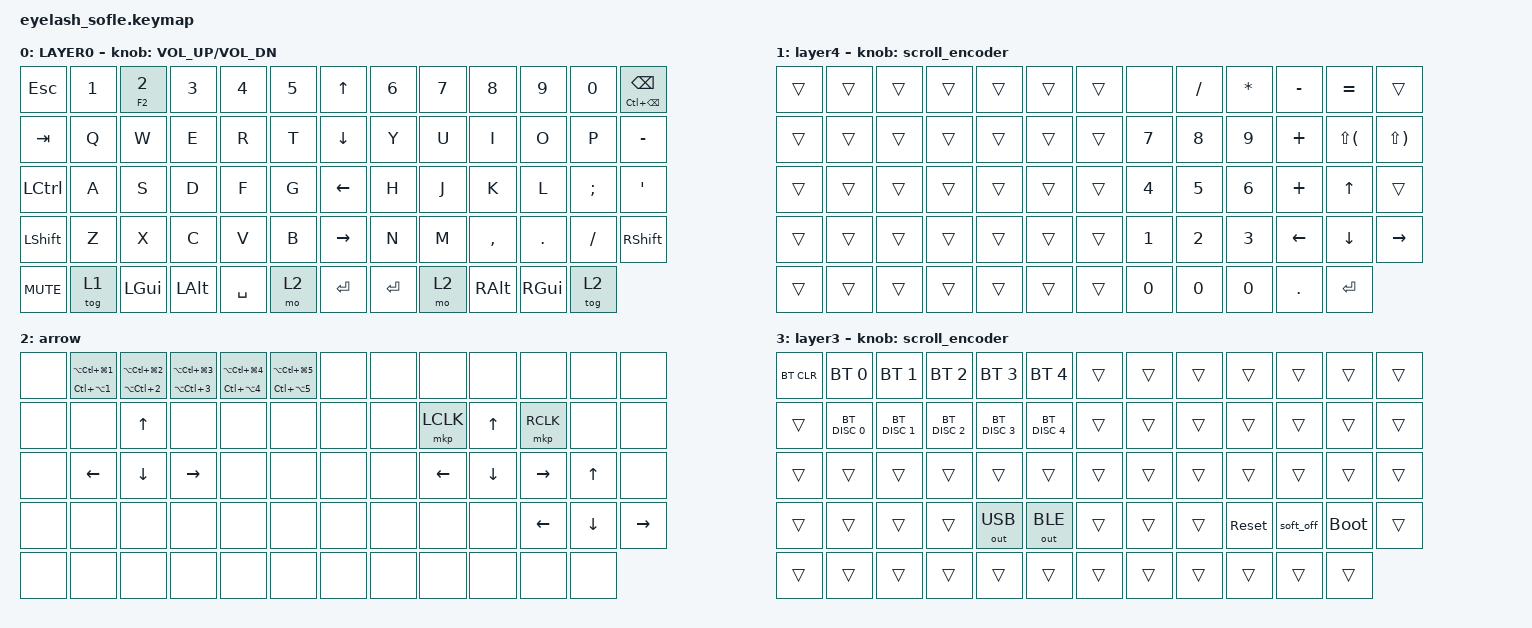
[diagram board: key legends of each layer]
#define ZMK_POINTING_DEFAULT_MOVE_VAL 1200  // 600
#define ZMK_POINTING_DEFAULT_SCRL_VAL 25   // 10

#include <input/processors.dtsi>
#include <zephyr/dt-bindings/input/input-event-codes.h>
#include <behaviors.dtsi>
#include <dt-bindings/zmk/bt.h>
#include <dt-bindings/zmk/keys.h>
#include <dt-bindings/zmk/outputs.h>
#include <dt-bindings/zmk/pointing.h>

&mmv_input_listener { input-processors = <&zip_xy_scaler 2 1>; };

&msc_input_listener { input-processors = <&zip_scroll_scaler 2 1>; };

&msc {
    acceleration-exponent = <1>;      // 0
    time-to-max-speed-ms = <100>;       // 300
    delay-ms = <0>;                   // 0
};

&mmv {
    time-to-max-speed-ms = <500>;
    acceleration-exponent = <1>;
    trigger-period-ms = <16>;
};

&soft_off { hold-time-ms = <2000>; };

/ {
    scroll_encoder: scroll_encoder {
        compatible = "zmk,behavior-sensor-rotate";
        #sensor-binding-cells = <0>;
        bindings = <&msc SCRL_DOWN>, <&msc SCRL_UP>;

        tap-ms = <100>;
    };

    TH_2: TH_2 {
        compatible = "zmk,behavior-hold-tap";
        label = "TH_2";
        bindings = <&kp>, <&kp>;

        #binding-cells = <2>;
        tapping-term-ms = <200>;
        quick-tap-ms = <0>;
        flavor = "tap-preferred";
        hold-trigger-key-positions = <1>;
    };

    behaviors {
    };

    combos {
        compatible = "zmk,combos";

        softoff {
            bindings = <&soft_off>;
            key-positions = <14 28 40>;
        };

        Delete {
            bindings = <&kp DEL>;
            key-positions = <24 25>;
        };

        equal_plus {
            bindings = <&kp EQUAL>;
            key-positions = <11 10>;
        };

        Backslash {
            bindings = <&kp BACKSLASH>;
            key-positions = <22 36>;
        };

        Left_bracklet {
            bindings = <&kp LEFT_BRACKET>;
            key-positions = <22 23>;
        };

        Right_bracklet {
            bindings = <&kp RIGHT_BRACKET>;
            key-positions = <24 23>;
        };

        Reset_layer {
            bindings = <&to 0>;
            key-positions = <57 59>;
        };

        Connect {
            bindings = <&sl 3>;
            key-positions = <0 5>;
        };

        snap_left {
            bindings = <&kp LG(LEFT)>;
            key-positions = <28 16>;
            require-prior-idle-ms = <100>;
            timeout-ms = <10>;
        };

        snap_right {
            bindings = <&kp LG(RIGHT)>;
            key-positions = <30 16>;
            require-prior-idle-ms = <100>;
            timeout-ms = <10>;
        };

        full_screen {
            bindings = <&kp LG(UP_ARROW)>;
            key-positions = <30 28 16>;
            require-prior-idle-ms = <100>;
            timeout-ms = <10>;
        };

        minimize {
            bindings = <&kp LG(DOWN)>;
            key-positions = <30 28 29>;
            require-prior-idle-ms = <100>;
            timeout-ms = <10>;
        };

        move_window_left {
            bindings = <&kp LS(LG(LEFT))>;
            key-positions = <29 28>;
            require-prior-idle-ms = <100>;
            timeout-ms = <10>;
        };

        move_window_right {
            bindings = <&kp LS(LG(RIGHT))>;
            key-positions = <29 30>;
            require-prior-idle-ms = <100>;
            timeout-ms = <10>;
        };
    };

    macros {
        SHIFT_MCLK: SHIFT_MCLK {
            compatible = "zmk,behavior-macro";
            #binding-cells = <0>;
            bindings =
                <&macro_press>,
                <&kp LEFT_SHIFT>,
                <&macro_press>,
                <&mkp MB3>,
                <&macro_pause_for_release>,
                <&macro_release>,
                <&kp LEFT_SHIFT &mkp MB3>;

            label = "SHIFT_MCLK";
        };
    };

    keymap {
        compatible = "zmk,keymap";

        layer0 {
            bindings = <
&kp ESC     &kp N1  &TH_2 F2 N2   &kp N3    &kp N4     &kp N5    &kp UP_ARROW     &kp N6   &kp N7  &kp N8     &kp N9    &kp N0    &TH_2 LC(BSPC) BACKSPACE
&kp TAB     &kp Q   &kp W         &kp E     &kp R      &kp T     &kp DOWN_ARROW   &kp Y    &kp U   &kp I      &kp O     &kp P     &kp MINUS
&kp LCTRL   &kp A   &kp S         &kp D     &kp F      &kp G     &kp LEFT_ARROW   &kp H    &kp J   &kp K      &kp L     &kp SEMI  &kp SQT
&kp LSHFT   &kp Z   &kp X         &kp C     &kp V      &kp B     &kp RIGHT_ARROW  &kp N    &kp M   &kp COMMA  &kp DOT   &kp FSLH  &kp RSHFT
&kp C_MUTE  &tog 1  &kp LEFT_GUI  &kp LALT  &kp SPACE  &mo 2     &kp ENTER        &kp RET  &mo 2   &kp RALT   &kp RGUI  &tog 2
            >;

            sensor-bindings = <&inc_dec_kp C_VOLUME_UP C_VOL_DN>;
            display-name = "LAYER0";
        };

        numpad {
            bindings = <
&trans  &trans  &trans  &trans  &trans  &trans    &trans  &none   &kp FSLH  &kp STAR  &kp MINUS  &kp EQUAL     &trans
&trans  &trans  &trans  &trans  &trans  &trans    &trans  &kp N7  &kp N8    &kp N9    &kp PLUS   &kp LS(LPAR)  &kp LS(RPAR)
&trans  &trans  &trans  &trans  &trans  &trans    &trans  &kp N4  &kp N5    &kp N6    &kp PLUS   &kp UP        &trans
&trans  &trans  &trans  &trans  &trans  &trans    &trans  &kp N1  &kp N2    &kp N3    &kp LEFT   &kp DOWN      &kp RIGHT
&trans  &trans  &trans  &trans  &trans  &trans    &trans  &kp N0  &kp N0    &kp N0    &kp DOT    &kp RET
            >;

            display-name = "layer4";
            sensor-bindings = <&scroll_encoder>;
        };

        arrow {
            bindings = <
&none  &TH_2 LC(LA(NUMBER_1)) LA(LC(LG(NUMBER_1)))  &TH_2 LA(LC(NUMBER_2)) LA(LC(LG(NUMBER_2)))  &TH_2 LA(LC(NUMBER_3)) LA(LC(LG(NUMBER_3)))  &TH_2 LC(LA(NUMBER_4)) LA(LC(LG(NUMBER_4)))  &TH_2 LC(LA(N5)) LA(LC(LG(N5)))    &none  &none  &none      &none     &none      &none     &none
&none  &none                                        &kp UP                                       &none                                        &none                                        &none                              &none  &none  &mkp LCLK  &kp UP    &mkp RCLK  &none     &none
&none  &kp LEFT                                     &kp DOWN                                     &kp RIGHT                                    &none                                        &none                              &none  &none  &kp LEFT   &kp DOWN  &kp RIGHT  &kp UP    &none
&none  &none                                        &none                                        &none                                        &none                                        &none                              &none  &none  &none      &none     &kp LEFT   &kp DOWN  &kp RIGHT
&none  &none                                        &none                                        &none                                        &none                                        &none                              &none  &none  &none      &none     &none      &none
            >;
        };

        Connection {
            bindings = <
&bt BT_CLR  &bt BT_SEL 0   &bt BT_SEL 1   &bt BT_SEL 2   &bt BT_SEL 3   &bt BT_SEL 4     &trans  &trans  &trans  &trans      &trans     &trans       &trans
&trans      &bt BT_DISC 0  &bt BT_DISC 1  &bt BT_DISC 2  &bt BT_DISC 3  &bt BT_DISC 4    &trans  &trans  &trans  &trans      &trans     &trans       &trans
&trans      &trans         &trans         &trans         &trans         &trans           &trans  &trans  &trans  &trans      &trans     &trans       &trans
&trans      &trans         &trans         &trans         &out OUT_USB   &out OUT_BLE     &trans  &trans  &trans  &sys_reset  &soft_off  &bootloader  &trans
&trans      &trans         &trans         &trans         &trans         &trans           &trans  &trans  &trans  &trans      &trans     &trans
            >;

            display-name = "layer3";
            sensor-bindings = <&scroll_encoder>;
        };
    };
};
